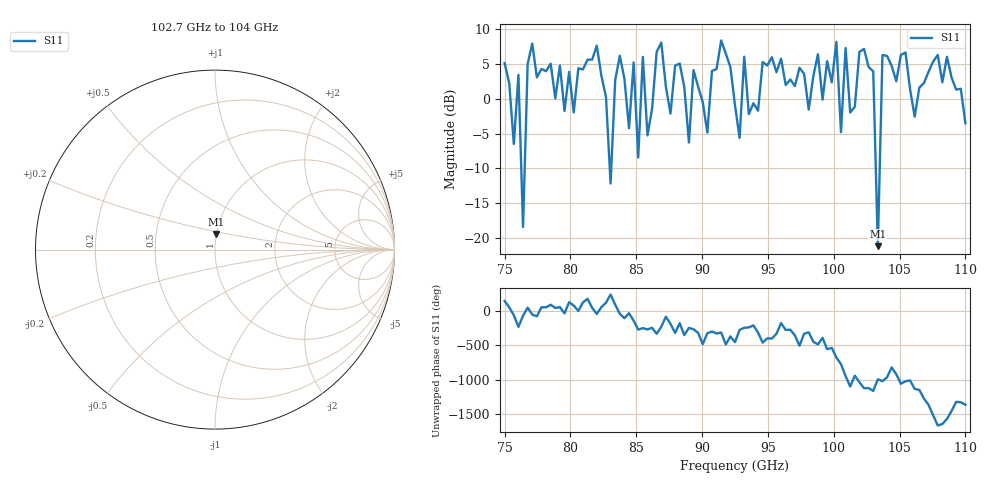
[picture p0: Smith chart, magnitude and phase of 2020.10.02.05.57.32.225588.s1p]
!Created with skrf (http://scikit-rf.org).
# GHz S RI R 50.0
!freq ReS11 ImS11
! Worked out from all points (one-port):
!   101 points, 75 GHz to 110 GHz, reference 50 ohm
!   lowest |S11| = -21.1 dB at 103.3 GHz (marker M1), VSWR 1.19, Z = 49.9 + j8.79 ohm
!   |S11| at or under -10 dB: 76.26517 GHz to 76.52581 GHz (260.6 MHz wide, 0.341 % of centre); 82.98917 GHz to 83.10096 GHz (111.8 MHz wide, 0.135 % of centre); 103.1944 GHz to 103.4924 GHz (298 MHz wide, 0.288 % of centre)
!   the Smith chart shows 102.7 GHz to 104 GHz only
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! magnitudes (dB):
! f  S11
! 75 GHz  5.1
! 75.7 GHz  -6.5
! 76.05 GHz  3.4
! 76.4 GHz  -18.4
! 76.75 GHz  5.0
! 77.1 GHz  7.9
! 79.55 GHz  -1.8
! 82 GHz  7.6
! 83.05 GHz  -12.2
! 83.75 GHz  6.2
! 84.45 GHz  -4.2
! 84.8 GHz  5.2
! 85.15 GHz  -8.4
! 85.5 GHz  6.0
! 85.85 GHz  -5.3
! 88.3 GHz  5.0
! 89 GHz  -6.3
! 91.45 GHz  8.3
! 92.5 GHz  -0.9
! 97.05 GHz  1.8
! 100.2 GHz  8.1
! 100.5 GHz  -4.8
! 101.2 GHz  -2.0
! 103 GHz  3.9
! 103.3 GHz  -21.1
! 103.7 GHz  6.3
! 105.8 GHz  1.3
! 110 GHz  -3.5
